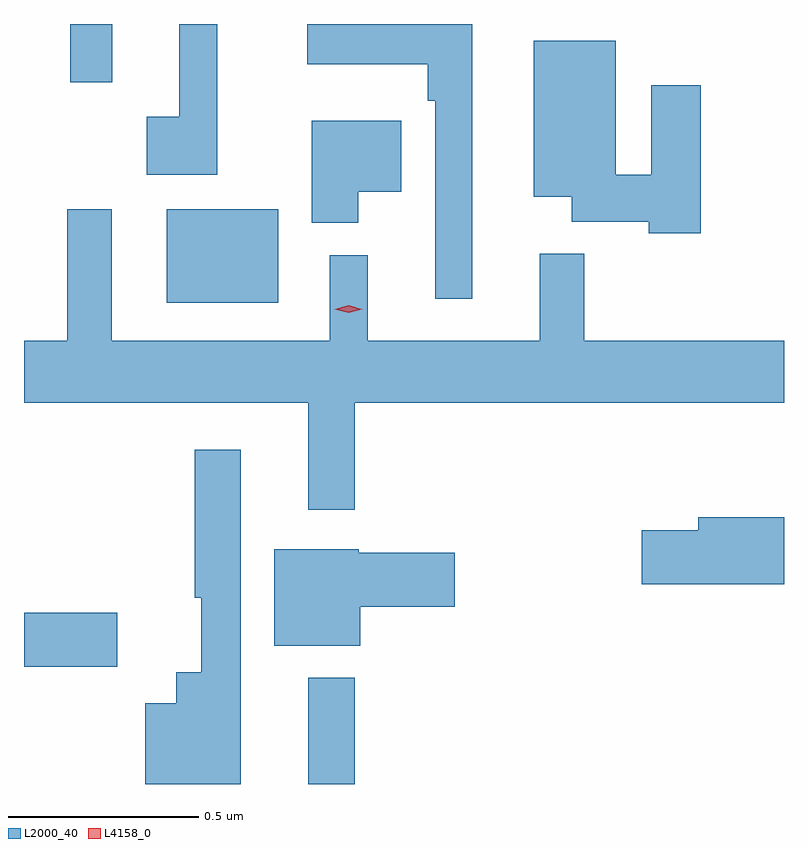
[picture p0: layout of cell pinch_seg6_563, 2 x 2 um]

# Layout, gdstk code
import gdstk
lib = gdstk.Library(unit=1e-6, precision=1e-09)
def R(c, l, rs):  # rectangles x0, y0, x1, y1
    for r in rs: c.add(gdstk.rectangle(r[:2], r[2:], *l))
def P(c, l, *ps):  # polygons
    for p in ps: c.add(gdstk.Polygon(p, *l))
L2000_40 = (2000, 40)
L4158_0 = (4158, 0)

pinch_seg6_563 = lib.new_cell('pinch_seg6_563')
R(pinch_seg6_563, L2000_40, [(528.983,986.293,529.105,986.572), (528.235,986.602,528.481,986.744), (528.611,987.56,528.904,987.805), (528.357,988.14,528.467,988.293)])
P(pinch_seg6_563, L2000_40, [(529.414,988.293),(528.98,988.293),(528.98,988.187),(529.297,988.187),(529.297,988.091),(529.317,988.091),(529.317,987.57),(529.414,987.57)],
  [(528.744,988.293),(528.644,988.293),(528.644,988.049),(528.558,988.049),(528.558,987.896),(528.744,987.896)],
  [(530.016,988.132),(529.886,988.132),(529.886,987.896),(529.792,987.896),(529.792,988.249),(529.577,988.249),(529.577,987.839),(529.676,987.839),(529.676,987.773),(529.879,987.773),(529.879,987.743),(530.016,987.743)],
  [(529.114,987.851),(529.228,987.851),(529.228,988.039),(528.992,988.039),(528.992,987.77),(529.114,987.77)],
  [(529.105,987.296),(530.235,987.296),(530.235,987.46),(529.709,987.46),(529.709,987.688),(529.592,987.688),(529.592,987.46),(529.139,987.46),(529.139,987.685),(529.04,987.685),(529.04,987.46),(528.466,987.46),(528.466,987.805),(528.349,987.805),(528.349,987.46),(528.235,987.46),(528.235,987.296),(528.983,987.296),(528.983,987.015),(529.105,987.015)],
  [(528.805,987.172),(528.684,987.172),(528.684,986.783),(528.701,986.783),(528.701,986.587),(528.635,986.587),(528.635,986.506),(528.554,986.506),(528.554,986.293),(528.805,986.293)],
  [(530.235,986.995),(530.009,986.995),(530.009,986.961),(529.86,986.961),(529.86,986.819),(530.235,986.819)],
  [(529.12,986.759),(529.369,986.759),(529.369,986.901),(529.116,986.901),(529.116,986.911),(528.893,986.911),(528.893,986.657),(529.12,986.657)])
P(pinch_seg6_563, L4158_0, [(529.089,987.533),(529.053,987.543),(529.053,987.543),(529.053,987.543),(529.089,987.553),(529.124,987.542),(529.125,987.542),(529.124,987.542)])

lib.write_gds('pinch_seg6_563.gds')
